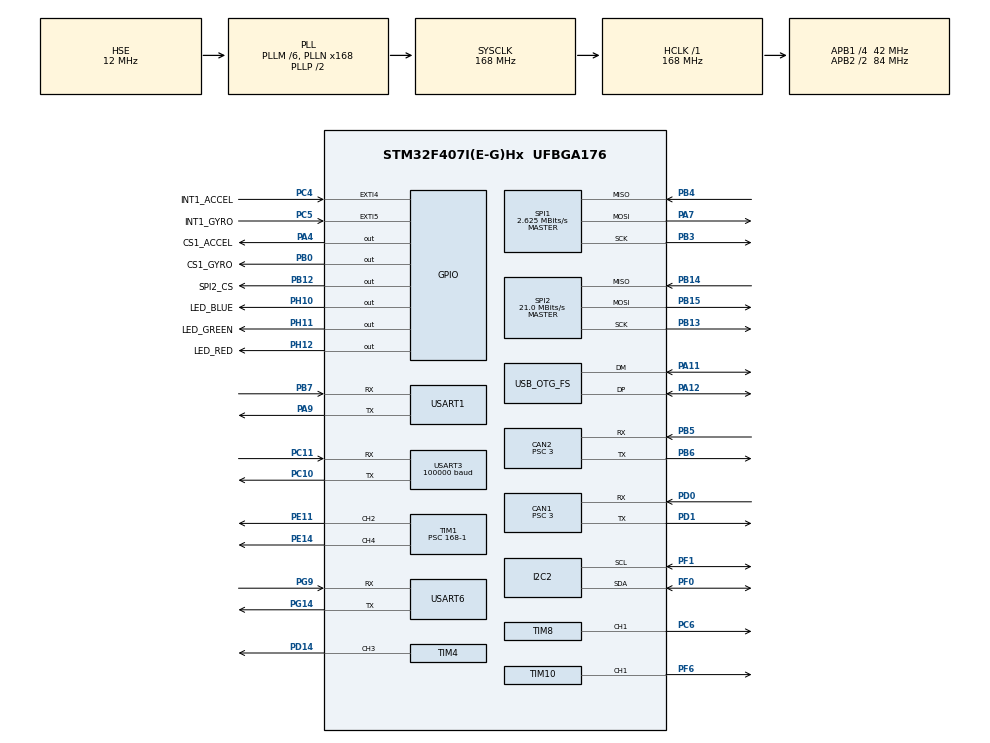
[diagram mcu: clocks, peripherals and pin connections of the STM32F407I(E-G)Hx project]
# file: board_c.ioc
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CAN1.ABOM=ENABLE
CAN1.BS1=CAN_BS1_9TQ
CAN1.BS2=CAN_BS2_4TQ
CAN1.CalculateBaudRate=1000000
CAN1.CalculateTimeBit=1000
CAN1.CalculateTimeQuantum=71.42857142857143
CAN1.NART=ENABLE
CAN1.Prescaler=3
CAN2.ABOM=ENABLE
CAN2.BS1=CAN_BS1_9TQ
CAN2.BS2=CAN_BS2_4TQ
CAN2.CalculateBaudRate=1000000
CAN2.CalculateTimeBit=1000
CAN2.CalculateTimeQuantum=71.42857142857143
CAN2.NART=ENABLE
CAN2.Prescaler=3
Dma.Request0=TIM8_CH1
Dma.Request1=USART3_RX
Dma.Request2=USART6_RX
Dma.Request3=USART6_TX
Dma.Request4=USART1_TX
Dma.Request5=USART1_RX
Dma.Request6=TIM1_CH4/TRIG/COM
Dma.TIM1_CH4/TRIG/COM.6.Direction=DMA_PERIPH_TO_MEMORY
Dma.TIM1_CH4/TRIG/COM.6.FIFOMode=DMA_FIFOMODE_DISABLE
Dma.TIM1_CH4/TRIG/COM.6.Instance=DMA2_Stream4
Dma.TIM1_CH4/TRIG/COM.6.MemDataAlignment=DMA_MDATAALIGN_HALFWORD
Dma.TIM1_CH4/TRIG/COM.6.MemInc=DMA_MINC_ENABLE
Dma.TIM1_CH4/TRIG/COM.6.Mode=DMA_NORMAL
Dma.TIM1_CH4/TRIG/COM.6.PeriphDataAlignment=DMA_PDATAALIGN_HALFWORD
Dma.TIM1_CH4/TRIG/COM.6.PeriphInc=DMA_PINC_DISABLE
Dma.TIM1_CH4/TRIG/COM.6.Priority=DMA_PRIORITY_LOW
Dma.TIM8_CH1.0.Direction=DMA_MEMORY_TO_PERIPH
Dma.TIM8_CH1.0.FIFOMode=DMA_FIFOMODE_DISABLE
Dma.TIM8_CH1.0.Instance=DMA2_Stream2
Dma.TIM8_CH1.0.MemDataAlignment=DMA_MDATAALIGN_WORD
Dma.TIM8_CH1.0.MemInc=DMA_MINC_ENABLE
Dma.TIM8_CH1.0.Mode=DMA_NORMAL
Dma.TIM8_CH1.0.PeriphDataAlignment=DMA_PDATAALIGN_WORD
Dma.TIM8_CH1.0.PeriphInc=DMA_PINC_DISABLE
Dma.TIM8_CH1.0.Priority=DMA_PRIORITY_LOW
Dma.USART1_RX.5.Direction=DMA_PERIPH_TO_MEMORY
Dma.USART1_RX.5.FIFOMode=DMA_FIFOMODE_DISABLE
Dma.USART1_RX.5.Instance=DMA2_Stream5
Dma.USART1_RX.5.MemDataAlignment=DMA_MDATAALIGN_BYTE
Dma.USART1_RX.5.MemInc=DMA_MINC_ENABLE
Dma.USART1_RX.5.Mode=DMA_CIRCULAR
Dma.USART1_RX.5.PeriphDataAlignment=DMA_PDATAALIGN_BYTE
Dma.USART1_RX.5.PeriphInc=DMA_PINC_DISABLE
Dma.USART1_RX.5.Priority=DMA_PRIORITY_LOW
Dma.USART1_TX.4.Direction=DMA_MEMORY_TO_PERIPH
Dma.USART1_TX.4.FIFOMode=DMA_FIFOMODE_DISABLE
Dma.USART1_TX.4.Instance=DMA2_Stream7
Dma.USART1_TX.4.MemDataAlignment=DMA_MDATAALIGN_BYTE
Dma.USART1_TX.4.MemInc=DMA_MINC_ENABLE
Dma.USART1_TX.4.Mode=DMA_NORMAL
Dma.USART1_TX.4.PeriphDataAlignment=DMA_PDATAALIGN_BYTE
Dma.USART1_TX.4.PeriphInc=DMA_PINC_DISABLE
Dma.USART1_TX.4.Priority=DMA_PRIORITY_LOW
Dma.USART3_RX.1.Direction=DMA_PERIPH_TO_MEMORY
Dma.USART3_RX.1.FIFOMode=DMA_FIFOMODE_DISABLE
Dma.USART3_RX.1.Instance=DMA1_Stream1
Dma.USART3_RX.1.MemDataAlignment=DMA_MDATAALIGN_BYTE
Dma.USART3_RX.1.MemInc=DMA_MINC_ENABLE
Dma.USART3_RX.1.Mode=DMA_CIRCULAR
Dma.USART3_RX.1.PeriphDataAlignment=DMA_PDATAALIGN_BYTE
Dma.USART3_RX.1.PeriphInc=DMA_PINC_DISABLE
Dma.USART3_RX.1.Priority=DMA_PRIORITY_LOW
Dma.USART6_RX.2.Direction=DMA_PERIPH_TO_MEMORY
Dma.USART6_RX.2.FIFOMode=DMA_FIFOMODE_DISABLE
Dma.USART6_RX.2.Instance=DMA2_Stream1
Dma.USART6_RX.2.MemDataAlignment=DMA_MDATAALIGN_BYTE
Dma.USART6_RX.2.MemInc=DMA_MINC_ENABLE
Dma.USART6_RX.2.Mode=DMA_CIRCULAR
Dma.USART6_RX.2.PeriphDataAlignment=DMA_PDATAALIGN_BYTE
Dma.USART6_RX.2.PeriphInc=DMA_PINC_DISABLE
Dma.USART6_RX.2.Priority=DMA_PRIORITY_LOW
Dma.USART6_TX.3.Direction=DMA_MEMORY_TO_PERIPH
Dma.USART6_TX.3.FIFOMode=DMA_FIFOMODE_DISABLE
Dma.USART6_TX.3.Instance=DMA2_Stream6
Dma.USART6_TX.3.MemDataAlignment=DMA_MDATAALIGN_BYTE
Dma.USART6_TX.3.MemInc=DMA_MINC_ENABLE
Dma.USART6_TX.3.Mode=DMA_NORMAL
Dma.USART6_TX.3.PeriphDataAlignment=DMA_PDATAALIGN_BYTE
Dma.USART6_TX.3.PeriphInc=DMA_PINC_DISABLE
Dma.USART6_TX.3.Priority=DMA_PRIORITY_LOW
I2C2.I2C_Mode=I2C_Standard
Mcu.Family=STM32F4
Mcu.Name=STM32F407I(E-G)Hx
Mcu.Package=UFBGA176
NVIC.CAN1_RX0_IRQn=true\:1\:0\:true\:false\:true\:true\:true\:true
NVIC.CAN1_RX1_IRQn=true\:1\:0\:true\:false\:true\:true\:true\:true
NVIC.CAN2_RX0_IRQn=true\:1\:0\:true\:false\:true\:true\:true\:true
NVIC.CAN2_RX1_IRQn=true\:1\:0\:true\:false\:true\:true\:true\:true
NVIC.DMA1_Stream1_IRQn=true\:0\:0\:false\:false\:true\:false\:true\:true
NVIC.DMA2_Stream1_IRQn=true\:0\:0\:false\:false\:true\:false\:true\:true
NVIC.DMA2_Stream2_IRQn=true\:0\:0\:false\:false\:true\:true\:true\:true
NVIC.DMA2_Stream6_IRQn=true\:3\:0\:true\:false\:true\:false\:true\:true
NVIC.DMA2_Stream7_IRQn=true\:0\:0\:false\:false\:true\:true\:true\:true
NVIC.I2C2_EV_IRQn=true\:4\:0\:true\:false\:true\:true\:true\:true
NVIC.OTG_FS_IRQn=true\:0\:0\:false\:false\:true\:true\:true\:true
NVIC.PriorityGroup=NVIC_PRIORITYGROUP_4
NVIC.TIM1_BRK_TIM9_IRQn=true\:1\:0\:true\:false\:true\:true\:true\:true
NVIC.TIM2_IRQn=true\:15\:0\:false\:false\:true\:false\:true\:true
NVIC.TIM3_IRQn=true\:3\:0\:true\:false\:true\:true\:true\:true
NVIC.TIM5_IRQn=true\:1\:0\:true\:false\:true\:true\:true\:true
NVIC.TIM6_DAC_IRQn=true\:2\:0\:true\:false\:true\:true\:true\:true
NVIC.TIM7_IRQn=true\:2\:0\:true\:false\:true\:true\:true\:true
NVIC.TIM8_UP_TIM13_IRQn=true\:3\:0\:true\:false\:true\:true\:true\:true
NVIC.TimeBase=TIM2_IRQn
NVIC.TimeBaseIP=TIM2
NVIC.USART1_IRQn=true\:1\:0\:true\:false\:true\:true\:true\:true
NVIC.USART3_IRQn=true\:1\:0\:true\:false\:true\:true\:true\:true
NVIC.USART6_IRQn=true\:3\:0\:true\:false\:true\:false\:true\:true
PA11.Mode=Device_Only
PA11.Signal=USB_OTG_FS_DM
PA12.Mode=Device_Only
PA12.Signal=USB_OTG_FS_DP
PA13.Mode=Serial_Wire
PA13.Signal=SYS_JTMS-SWDIO
PA14.Mode=Serial_Wire
PA14.Signal=SYS_JTCK-SWCLK
PA4.GPIO_Label=CS1_ACCEL
PA4.GPIO_PuPd=GPIO_PULLUP
PA4.PinState=GPIO_PIN_SET
PA4.Signal=GPIO_Output
PA7.Mode=Full_Duplex_Master
PA7.Signal=SPI1_MOSI
PA9.Mode=Asynchronous
PA9.Signal=USART1_TX
PB0.GPIO_Label=CS1_GYRO
PB0.GPIO_PuPd=GPIO_PULLUP
PB0.PinState=GPIO_PIN_SET
PB0.Signal=GPIO_Output
PB12.GPIO_Label=SPI2_CS
PB12.Signal=GPIO_Output
PB13.Mode=Full_Duplex_Master
PB13.Signal=SPI2_SCK
PB14.Mode=Full_Duplex_Master
PB14.Signal=SPI2_MISO
PB15.Mode=Full_Duplex_Master
PB15.Signal=SPI2_MOSI
PB3.Mode=Full_Duplex_Master
PB3.Signal=SPI1_SCK
PB4.Mode=Full_Duplex_Master
PB4.Signal=SPI1_MISO
PB5.Mode=CAN_Activate
PB5.Signal=CAN2_RX
PB6.Mode=CAN_Activate
PB6.Signal=CAN2_TX
PB7.Mode=Asynchronous
PB7.Signal=USART1_RX
PC10.Mode=Asynchronous
PC10.Signal=USART3_TX
PC11.Mode=Asynchronous
PC11.Signal=USART3_RX
PC4.GPIO_Label=INT1_ACCEL
PC4.GPIO_PuPd=GPIO_PULLUP
PC4.Signal=GPXTI4
PC5.GPIO_Label=INT1_GYRO
PC5.GPIO_PuPd=GPIO_PULLUP
PC5.Signal=GPXTI5
PC6.Signal=S_TIM8_CH1
PD0.Mode=CAN_Activate
PD0.Signal=CAN1_RX
PD1.Mode=CAN_Activate
PD1.Signal=CAN1_TX
PD14.Signal=S_TIM4_CH3
PE11.Signal=S_TIM1_CH2
PE14.Signal=S_TIM1_CH4
PF0.Mode=I2C
PF0.Signal=I2C2_SDA
PF1.Mode=I2C
PF1.Signal=I2C2_SCL
PF6.Signal=S_TIM10_CH1
PG14.Mode=Asynchronous
PG14.Signal=USART6_TX
PG9.Mode=Asynchronous
PG9.Signal=USART6_RX
PH0-OSC_IN.Mode=HSE-External-Oscillator
PH0-OSC_IN.Signal=RCC_OSC_IN
PH1-OSC_OUT.Mode=HSE-External-Oscillator
PH1-OSC_OUT.Signal=RCC_OSC_OUT
PH10.GPIO_Label=LED_BLUE
PH10.Signal=GPIO_Output
PH11.GPIO_Label=LED_GREEN
PH11.Signal=GPIO_Output
PH12.GPIO_Label=LED_RED
PH12.Signal=GPIO_Output
ProjectManager.HeapSize=0x1000
ProjectManager.StackSize=0xC000
ProjectManager.TargetToolchain=MDK-ARM V5.32
RCC.48MHZClocksFreq_Value=48000000
RCC.AHBFreq_Value=168000000
RCC.APB1CLKDivider=RCC_HCLK_DIV4
RCC.APB1Freq_Value=42000000
RCC.APB1TimFreq_Value=84000000
RCC.APB2CLKDivider=RCC_HCLK_DIV2
RCC.APB2Freq_Value=84000000
RCC.APB2TimFreq_Value=168000000
RCC.CortexFreq_Value=168000000
RCC.HCLKFreq_Value=168000000
RCC.HSE_VALUE=12000000
RCC.HSI_VALUE=16000000
RCC.LSE_VALUE=32768
RCC.PLLM=6
RCC.PLLN=168
RCC.PLLQ=7
RCC.SYSCLKFreq_VALUE=168000000
RCC.SYSCLKSource=RCC_SYSCLKSOURCE_PLLCLK
RCC.VCOOutputFreq_Value=336000000
SH.S_TIM10_CH1.0=TIM10_CH1,PWM Generation1 CH1
SH.S_TIM1_CH2.0=TIM1_CH2,PWM Generation2 CH2
SH.S_TIM1_CH4.0=TIM1_CH4,PWM Generation4 CH4
SH.S_TIM4_CH3.0=TIM4_CH3,PWM Generation3 CH3
SH.S_TIM8_CH1.0=TIM8_CH1,PWM Generation1 CH1
SPI1.BaudRatePrescaler=SPI_BAUDRATEPRESCALER_32
SPI1.CLKPhase=SPI_PHASE_2EDGE
SPI1.CLKPolarity=SPI_POLARITY_HIGH
SPI1.CalculateBaudRate=2.625 MBits/s
SPI1.Direction=SPI_DIRECTION_2LINES
SPI1.Mode=SPI_MODE_MASTER
SPI1.VirtualType=VM_MASTER
SPI2.CalculateBaudRate=21.0 MBits/s
SPI2.Direction=SPI_DIRECTION_2LINES
SPI2.Mode=SPI_MODE_MASTER
SPI2.VirtualType=VM_MASTER
TIM1.Channel-PWM\ Generation2\ CH2=TIM_CHANNEL_2
TIM1.Channel-PWM\ Generation4\ CH4=TIM_CHANNEL_4
TIM1.Period=20000-1
TIM1.Prescaler=168-1
TIM10.Channel=TIM_CHANNEL_1
TIM10.Period=5000-1
TIM3.Period=2000-1
TIM3.Prescaler=4200-1
TIM4.Channel-PWM\ Generation3\ CH3=TIM_CHANNEL_3
TIM4.Period=250-1
TIM4.Prescaler=420-1
TIM5.Period=65535
TIM5.Prescaler=84-1
TIM6.Period=52500-1
TIM6.Prescaler=8-1
TIM7.Period=1000-1
TIM7.Prescaler=84-1
TIM8.Channel-PWM\ Generation1\ CH1=TIM_CHANNEL_1
TIM8.Period=210-1
TIM9.Period=800-1
TIM9.Prescaler=168-1
USART1.VirtualMode=VM_ASYNC
USART3.BaudRate=100000
USART3.Mode=MODE_RX
USART3.VirtualMode=VM_ASYNC
USART6.VirtualMode=VM_ASYNC
USB_DEVICE.APP_RX_DATA_SIZE-CDC_FS=128
USB_DEVICE.APP_TX_DATA_SIZE-CDC_FS=64
USB_DEVICE.CLASS_NAME_FS=CDC
USB_DEVICE.VirtualMode-CDC_FS=Cdc
USB_DEVICE.VirtualModeFS=Cdc_FS
USB_OTG_FS.VirtualMode=Device_Only
VP_CRC_VS_CRC.Mode=CRC_Activate
VP_RNG_VS_RNG.Mode=RNG_Activate
VP_SYS_VS_tim2.Mode=TIM2
VP_TIM10_VS_ClockSourceINT.Mode=Enable_Timer
VP_TIM1_VS_ClockSourceINT.Mode=Internal
VP_TIM3_VS_ClockSourceINT.Mode=Internal
VP_TIM4_VS_ClockSourceINT.Mode=Internal
VP_TIM5_VS_ClockSourceINT.Mode=Internal
VP_TIM6_VS_ClockSourceINT.Mode=Enable_Timer
VP_TIM7_VS_ClockSourceINT.Mode=Enable_Timer
VP_TIM8_VS_ClockSourceINT.Mode=Internal
VP_TIM9_VS_ClockSourceINT.Mode=Internal
VP_USB_DEVICE_VS_USB_DEVICE_CDC_FS.Mode=CDC_FS
board=custom

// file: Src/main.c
/* USER CODE BEGIN Header */
// clang-format off
/**
  ******************************************************************************
  * @file           : main.c
  * @brief          : Main program body
  ******************************************************************************
  * @attention
  *
  * Copyright (c) 2024 STMicroelectronics.
  * All rights reserved.
  *
  * This software is licensed under terms that can be found in the LICENSE file
  * in the root directory of this software component.
  * If no LICENSE file comes with this software, it is provided AS-IS.
  *
  ******************************************************************************
  */
/* USER CODE END Header */
#include "main.h"
#include "can.h"
#include "crc.h"
#include "dma.h"
#include "i2c.h"
#include "rng.h"
#include "spi.h"
#include "tim.h"
#include "usart.h"
#include "usb_device.h"
#include "gpio.h"

/* USER CODE BEGIN Includes */
#include "../USERCODE/robot_core/drv_conf.h"
#include "../USERCODE/robot_core/OS/drv_freertos/include/FreeRTOS.h"
#include "../USERCODE/robot_core/OS/drv_freertos/include/task.h"
#include "../USERCODE/robot_core/APP/robot.h"
#include "../USERCODE/robot_core/OS/robot_task.h"

/* USER CODE END Includes */

void SystemClock_Config(void);

int main(void)
{

  /* USER CODE BEGIN 1 */
	disable_all_it();
  /* USER CODE END 1 */

  /* MCU Configuration--------------------------------------------------------*/

  /* Reset of all peripherals, Initializes the Flash interface and the Systick. */
  HAL_Init();

  /* USER CODE BEGIN Init */
	#if 0
	    :::::::::       :::::::::::       ::::::::       ::::    :::       ::::::::::       ::::::::::       :::::::::
     :+:    :+:          :+:          :+:    :+:      :+:+:   :+:       :+:              :+:              :+:    :+:
    +:+    +:+          +:+          +:+    +:+      :+:+:+  +:+       +:+              +:+              +:+    +:+
   +#++:++#+           +#+          +#+    +:+      +#+ +:+ +#+       +#++:++#         +#++:++#         +#++:++#:
  +#+                 +#+          +#+    +#+      +#+  +#+#+#       +#+              +#+              +#+    +#+
 #+#                 #+#          #+#    #+#      #+#   #+#+#       #+#              #+#              #+#    #+#
###             ###########       ########       ###    ####       ##########       ##########       ###    ###
	#endif
  /* USER CODE END Init */

  /* Configure the system clock */
  SystemClock_Config();

  /* Initialize all configured peripherals */
  MX_GPIO_Init();
  MX_DMA_Init();
  MX_TIM1_Init();
  MX_TIM3_Init();
  MX_TIM4_Init();
  MX_TIM5_Init();
  MX_TIM6_Init();
  MX_TIM7_Init();
  MX_TIM8_Init();
  MX_TIM9_Init();
  MX_TIM10_Init();
  MX_SPI1_Init();
  MX_I2C2_Init();
  MX_CAN1_Init();
  MX_CAN2_Init();
  MX_USART1_UART_Init();
  MX_USART3_UART_Init();
  MX_USART6_UART_Init();
  MX_CRC_Init();
  MX_RNG_Init();
  MX_USB_DEVICE_Init();
  MX_SPI2_Init();
  /* USER CODE BEGIN 2 */

  /*Be sure to place MX_DMA_Init() before MX_USARTx_UART_Init()*/

//  __HAL_TIM_DISABLE_IT(&M_TIM_HANDLE,TIM_IT_UPDATE);
//  __HAL_TIM_DISABLE_IT(&H_TIM_HANDLE,TIM_IT_UPDATE);
//  __HAL_TIM_DISABLE_IT(&IMU_TIM_HANDLE,TIM_IT_UPDATE);
//  __HAL_TIM_DISABLE_IT(&DETECT_TIM_HANDLE,TIM_IT_UPDATE);

//  /* Timer Configuration */
  M_TIM_HANDLE.Instance->ARR = 1e4f / M_TIM_FREQ - 1; // 200hz
  M_TIM_HANDLE.Instance->PSC = 8400 - 1;
  H_TIM_HANDLE.Instance->ARR = 1e4f / H_TIM_FREQ - 1; // 500hz
  H_TIM_HANDLE.Instance->PSC = 8400 - 1;
  IMU_TIM_HANDLE.Instance->ARR = 1e4f / IMU_TIM_FREQ - 1; // 1250hz
  IMU_TIM_HANDLE.Instance->PSC = 16800 - 1;
  DETECT_TIM_HANDLE.Instance->ARR = 1e4f / DETECT_TIM_FREQ - 1; // 10hz
  DETECT_TIM_HANDLE.Instance->PSC = 8400 - 1;

  DELAY_TIM_HANDLE.Instance->ARR = 65535;
  DELAY_TIM_HANDLE.Instance->PSC = DELAY_TIM_MAX_FREQ / 1e6f - 1; // CNT每1us加1

  MAGAZINE_TIM_HANDLE.Instance->ARR = 1e4f / MAGAZINE_TIM_FREQ - 1; // 25hz
  MAGAZINE_TIM_HANDLE.Instance->PSC = 8400 - 1;
  BEEP_TIM_HANDLE.Instance->ARR = 1e5f / BEEP_TIM_FREQ - 1; // 400hz
  BEEP_TIM_HANDLE.Instance->PSC = 420 - 1;

  /*disable imu heat ctrl*/
  HAL_TIM_PWM_Start(&htim10,TIM_CHANNEL_1);
  TIM10->CCR1 = 0;
  HAL_GPIO_WritePin(GPIOF,GPIO_PIN_6,GPIO_PIN_RESET);

  /*enable beep*/
 __HAL_TIM_SetCompare(&BEEP_TIM_HANDLE, BEEP_TIM_CHANNAL, 0);
 HAL_TIM_PWM_Start(&BEEP_TIM_HANDLE,BEEP_TIM_CHANNAL);

  /*enable magazine*/
  __HAL_TIM_SetCompare(&MAGAZINE_TIM_HANDLE, MAGAZINE_TIM_CHANNAL, 0);
  HAL_TIM_PWM_Start(&MAGAZINE_TIM_HANDLE,MAGAZINE_TIM_CHANNAL);

	/*robot init*/
  robot_init();

  #if OS_ENABLE
  __HAL_TIM_DISABLE_IT(&M_TIM_HANDLE,TIM_IT_UPDATE);
  __HAL_TIM_DISABLE_IT(&H_TIM_HANDLE,TIM_IT_UPDATE);
	__HAL_TIM_DISABLE_IT(&IMU_TIM_HANDLE,TIM_IT_UPDATE);
	__HAL_TIM_DISABLE_IT(&htim1,TIM_IT_BREAK);
  __HAL_TIM_DISABLE_IT(&DETECT_TIM_HANDLE,TIM_IT_UPDATE);

  task_create();
  #else
	// __HAL_TIM_DISABLE_IT(&htim1,TIM_IT_BREAK);
	HAL_TIM_Base_Start_IT(&DETECT_TIM_HANDLE);
  HAL_TIM_Base_Start_IT(&M_TIM_HANDLE);
  HAL_TIM_Base_Start_IT(&H_TIM_HANDLE);
  HAL_TIM_Base_Start_IT(&IMU_TIM_HANDLE);
  #endif
  /* USER CODE END 2 */

  /* Infinite loop */
  /* USER CODE BEGIN WHILE */
	#if OS_ENABLE == 0
  while (1)
  {
    /* USER CODE END WHILE */

    /* USER CODE BEGIN 3 */
		robot_main_loop();
  }
	#endif
  /* USER CODE END 3 */
}

void SystemClock_Config(void)
{
  RCC_OscInitTypeDef RCC_OscInitStruct = {0};
  RCC_ClkInitTypeDef RCC_ClkInitStruct = {0};

  /** Configure the main internal regulator output voltage
  */
  __HAL_RCC_PWR_CLK_ENABLE();
  __HAL_PWR_VOLTAGESCALING_CONFIG(PWR_REGULATOR_VOLTAGE_SCALE1);

  /** Initializes the RCC Oscillators according to the specified parameters
  * in the RCC_OscInitTypeDef structure.
  */
  RCC_OscInitStruct.OscillatorType = RCC_OSCILLATORTYPE_HSE;
  RCC_OscInitStruct.HSEState = RCC_HSE_ON;
  RCC_OscInitStruct.PLL.PLLState = RCC_PLL_ON;
  RCC_OscInitStruct.PLL.PLLSource = RCC_PLLSOURCE_HSE;
  RCC_OscInitStruct.PLL.PLLM = 6;
  RCC_OscInitStruct.PLL.PLLN = 168;
  RCC_OscInitStruct.PLL.PLLP = RCC_PLLP_DIV2;
  RCC_OscInitStruct.PLL.PLLQ = 7;
  if (HAL_RCC_OscConfig(&RCC_OscInitStruct) != HAL_OK)
  {
    Error_Handler();
  }

  /** Initializes the CPU, AHB and APB buses clocks
  */
  RCC_ClkInitStruct.ClockType = RCC_CLOCKTYPE_HCLK|RCC_CLOCKTYPE_SYSCLK
                              |RCC_CLOCKTYPE_PCLK1|RCC_CLOCKTYPE_PCLK2;
  RCC_ClkInitStruct.SYSCLKSource = RCC_SYSCLKSOURCE_PLLCLK;
  RCC_ClkInitStruct.AHBCLKDivider = RCC_SYSCLK_DIV1;
  RCC_ClkInitStruct.APB1CLKDivider = RCC_HCLK_DIV4;
  RCC_ClkInitStruct.APB2CLKDivider = RCC_HCLK_DIV2;

  if (HAL_RCC_ClockConfig(&RCC_ClkInitStruct, FLASH_LATENCY_5) != HAL_OK)
  {
    Error_Handler();
  }
}

void HAL_TIM_PeriodElapsedCallback(TIM_HandleTypeDef *htim)
{
  if (htim->Instance == TIM2) {
    HAL_IncTick();
  }
  /* USER CODE BEGIN Callback 1 */
	#if OS_ENABLE == 0
	if (htim == &htim3) {  // 10Hz
   diag_slow_time_cycle();
	}
	if (htim == &htim9) {  // 1250Hz
   //Test0_Point_Start();
   robot_imu_tim_cycle();
   //Test0_Point_Stop();
	}
	if (htim == &htim6){  // 200Hz
   robot_m_tim_cycle();
	}
	if (htim == &htim7) {  // 1000Hz
   //Test1_Point_Start();
   robot_h_tim_cycle();
   //Test1_Point_Stop();
	}
	#endif
  /* USER CODE END Callback 1 */
}

void Error_Handler(void)
{
  __disable_irq();
  while (1)
  {
  }
}
